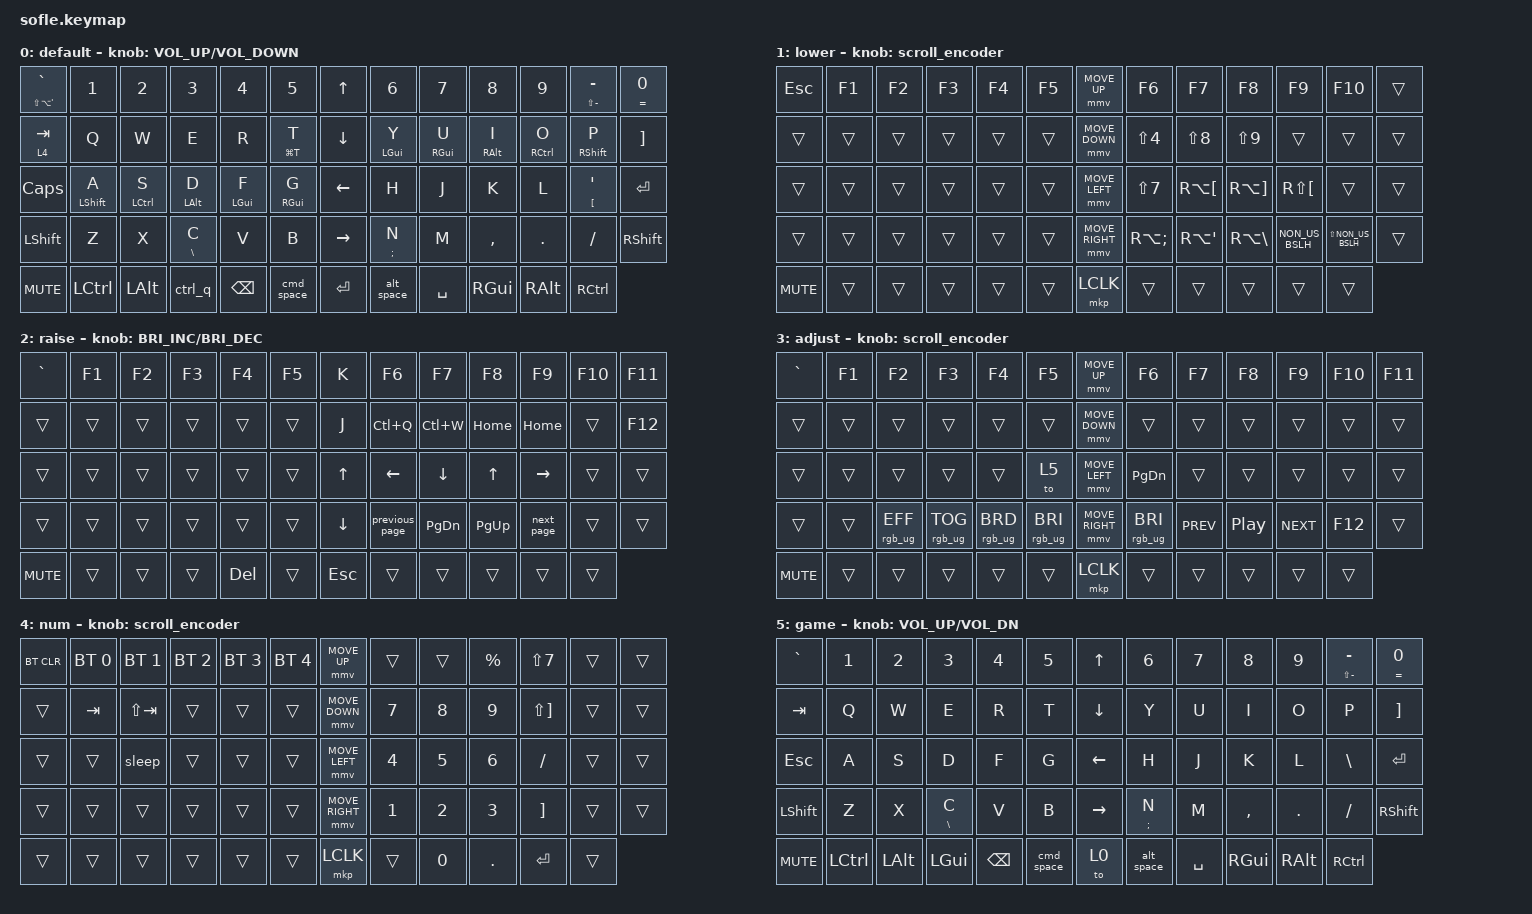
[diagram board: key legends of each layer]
#include <behaviors/mouse_keys.dtsi>
#include <behaviors.dtsi>
#include <dt-bindings/zmk/bt.h>
#include <dt-bindings/zmk/keys.h>
#include <dt-bindings/zmk/mouse.h>
#include <dt-bindings/zmk/rgb.h>

#define ZMK_MOUSE_DEFAULT_MOVE_VAL 1200  // 600
#define ZMK_MOUSE_DEFAULT_SCRL_VAL 20    // 10
#define U_MS_U &mmv MOVE_UP
#define U_MS_D &mmv MOVE_DOWN
#define U_MS_L &mmv MOVE_LEFT
#define U_MS_R &mmv MOVE_RIGHT
#define ZMK_MOUSE_DEFAULT_MOVE_VAL 1200  //  600
#define ZMK_MOUSE_DEFAULT_SCRL_VAL 20    // 10

&mt {
    tapping-term-ms = <200>;
    flavor = "tap-preferred";
    retro-tap;
    require-prior-idle-ms = <200>;
};

/ {
    behaviors {
        mmv {
            acceleration-exponent = <1>;      // 1
            time-to-max-speed-ms = <900>;    // 40
            delay-ms = <0>;                   // 0
        };

        msc {
            acceleration-exponent = <1>;      // 0
            time-to-max-speed-ms = <400>;      // 500
            delay-ms = <0>;                   //   10
        };
    };

    scroll_encoder: scroll_encoder {
        compatible = "zmk,behavior-sensor-rotate";
        #sensor-binding-cells = <0>;
        bindings = <&msc SCRL_DOWN>, <&msc SCRL_UP>;

        tap-ms = <30>;
    };

    num_tab: num_tab {
        compatible = "zmk,behavior-hold-tap";
        label = "NUM_TAB";
        bindings = <&mo>, <&kp>;

        #binding-cells = <2>;
        tapping-term-ms = <200>;
        quick-tap-ms = <100>;
        require-prior-idle-ms = <100>;
        hold-trigger-key-positions = <13>;
    };

    service_mode: service_mode {
        compatible = "zmk,behavior-hold-tap";
        label = "SERVICE_MODE";
        bindings = <&kp>, <&kp>;

        #binding-cells = <2>;
        tapping-term-ms = <150>;
        hold-trigger-key-positions = <0>;
    };

    cmd_t: cmd_t {
        compatible = "zmk,behavior-hold-tap";
        label = "CMD_T";
        bindings = <&kp>, <&kp>;

        #binding-cells = <2>;
        tapping-term-ms = <200>;
        flavor = "tap-preferred";
        hold-trigger-key-positions = <18>;
        quick-tap-ms = <50>;
    };

    c_trencada: c_trencada {
        compatible = "zmk,behavior-hold-tap";
        label = "C_TRENCADA";
        bindings = <&kp>, <&kp>;

        #binding-cells = <2>;
        tapping-term-ms = <200>;
        quick-tap-ms = <50>;
        flavor = "tap-preferred";
        hold-trigger-key-positions = <42>;
    };

    enya: enya {
        compatible = "zmk,behavior-hold-tap";
        label = "ENYA";
        bindings = <&kp>, <&kp>;

        #binding-cells = <2>;
        tapping-term-ms = <200>;
        quick-tap-ms = <50>;
        flavor = "tap-preferred";
        hold-trigger-key-positions = <46>;
    };

    generic_tap_hold: generic_tap_hold {
        compatible = "zmk,behavior-hold-tap";
        label = "GENERIC_TAP_HOLD";
        bindings = <&kp>, <&kp>;

        #binding-cells = <2>;
        tapping-term-ms = <150>;
        quick-tap-ms = <50>;
        require-prior-idle-ms = <125>;
        flavor = "tap-preferred";
        hold-trigger-key-positions = <12 11 37>;
    };

    cmd_space: cmd_space {
        compatible = "zmk,behavior-tap-dance";
        label = "CMD_SPACE";
        #binding-cells = <0>;
        bindings = <&mo 1>, <&kp LG(SPACE)>;

        tapping-term-ms = <200>;
    };

    alt_space: alt_space {
        compatible = "zmk,behavior-tap-dance";
        label = "ALT_SPACE";
        #binding-cells = <0>;
        bindings = <&mo 2>, <&kp LA(SPACE)>;

        tapping-term-ms = <200>;
    };

    lhmod: lhmod {
        compatible = "zmk,behavior-hold-tap";
        label = "LHMOD";
        bindings = <&kp>, <&kp>;

        #binding-cells = <2>;
        tapping-term-ms = <200>;
        flavor = "tap-preferred";
        quick-tap-ms = <50>;
    };

    rhmod: rhmod {
        compatible = "zmk,behavior-hold-tap";
        label = "RHMOD";
        bindings = <&kp>, <&kp>;

        #binding-cells = <2>;
        tapping-term-ms = <200>;
        flavor = "tap-preferred";
        quick-tap-ms = <50>;
    };

    ctrl_q: ctrl_q {
        compatible = "zmk,behavior-tap-dance";
        label = "CTRL_Q";
        #binding-cells = <0>;
        bindings = <&kp LEFT_GUI>, <&kp LC(Q)>;

        tapping-term-ms = <200>;
    };

    macros {
        sleep: sleep {
            compatible = "zmk,behavior-macro";
            #binding-cells = <0>;
            bindings = <&kp LA(LC(LG(EQUAL)))>;
            label = "SLEEP";
        };

        next_page: next_page {
            compatible = "zmk,behavior-macro";
            #binding-cells = <0>;
            bindings = <&kp LG(SINGLE_QUOTE)>;
            label = "NEXT_PAGE";
        };

        previous_page: previous_page {
            compatible = "zmk,behavior-macro";
            #binding-cells = <0>;
            bindings = <&kp LG(SEMICOLON)>;
            label = "PREVIOUS_PAGE";
        };
    };

    keymap {
        compatible = "zmk,keymap";

        default_layer {
            bindings = <
&service_mode LS(LA(APOSTROPHE)) GRAVE  &kp N1               &kp N2          &kp N3                   &kp N4             &kp N5                &kp UP_ARROW     &kp N6             &kp N7              &kp N8              &kp N9          &generic_tap_hold LS(MINUS) MINUS            &generic_tap_hold EQUAL N0
&num_tab 4 TAB                          &kp Q                &kp W           &kp E                    &kp R              &cmd_t LG(T) T        &kp DOWN_ARROW   &rhmod LEFT_GUI Y  &rhmod RIGHT_GUI U  &rhmod RIGHT_ALT I  &rhmod RCTRL O  &rhmod RIGHT_SHIFT P                         &kp RBKT
&kp CAPS                                &lhmod LEFT_SHIFT A  &lhmod LCTRL S  &lhmod LEFT_ALT D        &lhmod LEFT_GUI F  &lhmod RIGHT_GUI G    &kp LEFT_ARROW   &kp H              &kp J               &kp K               &kp L           &generic_tap_hold LEFT_BRACKET SINGLE_QUOTE  &kp ENTER
&kp LSHFT                               &kp Z                &kp X           &c_trencada BACKSLASH C  &kp V              &kp B                 &kp RIGHT_ARROW  &enya SEMICOLON N  &kp M               &kp COMMA           &kp DOT         &kp FSLH                                     &kp RSHFT
&kp C_MUTE                              &kp LCTRL            &kp LALT        &ctrl_q                  &kp BSPC           &cmd_space            &kp ENTER        &alt_space         &kp SPACE           &kp RGUI            &kp RALT        &kp RCTRL
            >;

            sensor-bindings = <&inc_dec_kp C_VOLUME_UP C_VOLUME_DOWN>;
            display-name = "default";
        };

        lower_layer {
            bindings = <
&kp ESCAPE  &kp F1  &kp F2  &kp F3  &kp F4  &kp F5    &mmv MOVE_UP     &kp F6             &kp F7                &kp F8                 &kp F9                &kp F10              &trans
&trans      &trans  &trans  &trans  &trans  &trans    &mmv MOVE_DOWN   &kp LS(NUMBER_4)   &kp LS(N8)            &kp LS(N9)             &trans                &trans               &trans
&trans      &trans  &trans  &trans  &trans  &trans    &mmv MOVE_LEFT   &kp LS(N7)         &kp RA(LEFT_BRACKET)  &kp RA(RIGHT_BRACKET)  &kp RS(LEFT_BRACKET)  &trans               &trans
&trans      &trans  &trans  &trans  &trans  &trans    &mmv MOVE_RIGHT  &kp RA(SEMICOLON)  &kp RA(SINGLE_QUOTE)  &kp RA(BACKSLASH)      &kp NON_US_BSLH       &kp LS(NON_US_BSLH)  &trans
&kp C_MUTE  &trans  &trans  &trans  &trans  &trans    &mkp LCLK        &trans             &trans                &trans                 &trans                &trans
            >;

            display-name = "lower";
            sensor-bindings = <&scroll_encoder>;
        };

        raise_layer {
            display-name = "raise";
            bindings = <
&kp GRAVE   &kp F1  &kp F2  &kp F3  &kp F4      &kp F5    &kp K         &kp F6          &kp F7          &kp F8        &kp F9      &kp F10  &kp F11
&trans      &trans  &trans  &trans  &trans      &trans    &kp J         &kp LC(Q)       &kp LC(W)       &kp HOME      &kp HOME    &trans   &kp F12
&trans      &trans  &trans  &trans  &trans      &trans    &kp UP_ARROW  &kp LEFT_ARROW  &kp DOWN_ARROW  &kp UP_ARROW  &kp RIGHT   &trans   &trans
&trans      &trans  &trans  &trans  &trans      &trans    &kp DOWN      &previous_page  &kp PAGE_DOWN   &kp PAGE_UP   &next_page  &trans   &trans
&kp C_MUTE  &trans  &trans  &trans  &kp DELETE  &trans    &kp ESC       &trans          &trans          &trans        &trans      &trans
            >;

            sensor-bindings = <&inc_dec_kp C_BRI_INC C_BRI_DEC>;
        };

        adjust_layer {
            display-name = "adjust";
            bindings = <
&kp GRAVE   &kp F1  &kp F2           &kp F3           &kp F4           &kp F5             &mmv MOVE_UP     &kp F6           &kp F7      &kp F8    &kp F9      &kp F10  &kp F11
&trans      &trans  &trans           &trans           &trans           &trans             &mmv MOVE_DOWN   &trans           &trans      &trans    &trans      &trans   &trans
&trans      &trans  &trans           &trans           &trans           &to 5              &mmv MOVE_LEFT   &kp PG_DN        &trans      &trans    &trans      &trans   &trans
&trans      &trans  &rgb_ug RGB_EFF  &rgb_ug RGB_TOG  &rgb_ug RGB_BRD  &rgb_ug RGB_BRI    &mmv MOVE_RIGHT  &rgb_ug RGB_BRI  &kp C_PREV  &kp C_PP  &kp C_NEXT  &kp F12  &trans
&kp C_MUTE  &trans  &trans           &trans           &trans           &trans             &mkp LCLK        &trans           &trans      &trans    &trans      &trans
            >;

            sensor-bindings = <&scroll_encoder>;
        };

        numeric_layer {
            display-name = "num";
            bindings = <
&bt BT_CLR  &bt BT_SEL 0  &bt BT_SEL 1  &bt BT_SEL 2  &bt BT_SEL 3  &bt BT_SEL 4    &mmv MOVE_UP     &trans  &trans  &kp PERCENT  &kp LS(N7)             &trans  &trans
&trans      &kp TAB       &kp LS(TAB)   &trans        &trans        &trans          &mmv MOVE_DOWN   &kp N7  &kp N8  &kp N9       &kp LS(RIGHT_BRACKET)  &trans  &trans
&trans      &trans        &sleep        &trans        &trans        &trans          &mmv MOVE_LEFT   &kp N4  &kp N5  &kp N6       &kp SLASH              &trans  &trans
&trans      &trans        &trans        &trans        &trans        &trans          &mmv MOVE_RIGHT  &kp N1  &kp N2  &kp N3       &kp RIGHT_BRACKET      &trans  &trans
&trans      &trans        &trans        &trans        &trans        &trans          &mkp LCLK        &trans  &kp N0  &kp DOT      &kp RETURN             &trans
            >;

            sensor-bindings = <&scroll_encoder>;
            label = "num";
        };

        game_layer {
            display-name = "game";
            bindings = <
&kp GRAVE   &kp N1     &kp N2    &kp N3                   &kp N4    &kp N5        &kp UP_ARROW     &kp N6             &kp N7     &kp N8     &kp N9    &generic_tap_hold LS(MINUS) MINUS  &generic_tap_hold EQUAL N0
&kp TAB     &kp Q      &kp W     &kp E                    &kp R     &kp T         &kp DOWN_ARROW   &kp Y              &kp U      &kp I      &kp O     &kp P                              &kp RBKT
&kp ESCAPE  &kp A      &kp S     &kp D                    &kp F     &kp G         &kp LEFT_ARROW   &kp H              &kp J      &kp K      &kp L     &kp BACKSLASH                      &kp ENTER
&kp LSHFT   &kp Z      &kp X     &c_trencada BACKSLASH C  &kp V     &kp B         &kp RIGHT_ARROW  &enya SEMICOLON N  &kp M      &kp COMMA  &kp DOT   &kp FSLH                           &kp RSHFT
&kp C_MUTE  &kp LCTRL  &kp LALT  &kp LGUI                 &kp BSPC  &cmd_space    &to 0            &alt_space         &kp SPACE  &kp RGUI   &kp RALT  &kp RCTRL
            >;

            sensor-bindings = <&inc_dec_kp C_VOLUME_UP C_VOL_DN>;
        };
    };

    conditional_layers {
        compatible = "zmk,conditional-layers";

        adjust_layer {
            if-layers = <1 2>;
            then-layer = <3>;
        };
    };
};
